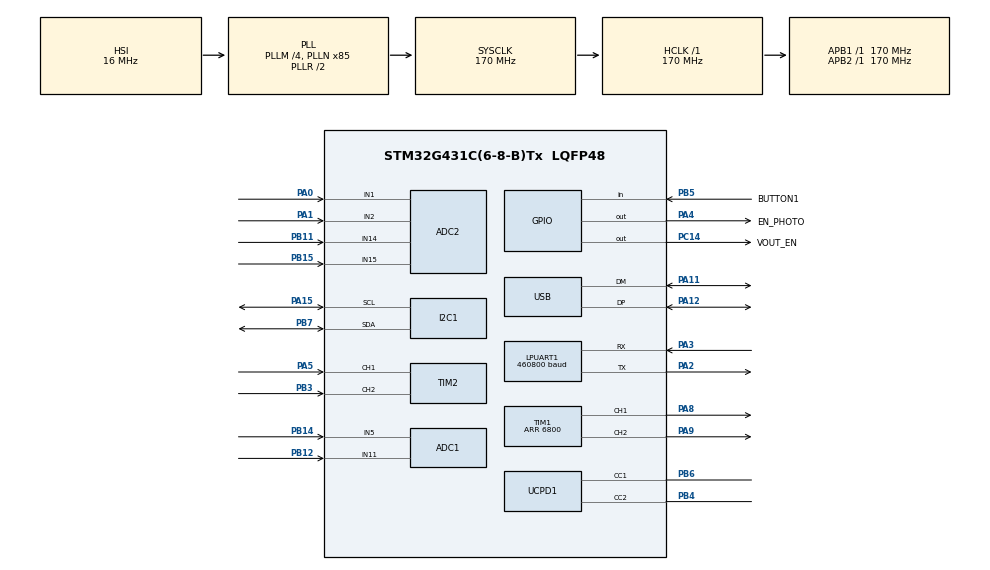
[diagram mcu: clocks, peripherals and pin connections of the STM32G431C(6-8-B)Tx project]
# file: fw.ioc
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ADC1.Channel-3\#ChannelRegularConversion=ADC_CHANNEL_11
ADC1.NbrOfConversionFlag=1
ADC1.OffsetNumber-3\#ChannelRegularConversion=ADC_OFFSET_NONE
ADC1.Rank-3\#ChannelRegularConversion=1
ADC1.SamplingTime-3\#ChannelRegularConversion=ADC_SAMPLETIME_2CYCLES_5
ADC1.master=1
ADC2.Channel-1\#ChannelRegularConversion=ADC_CHANNEL_14
ADC2.DMAContinuousRequests=ENABLE
ADC2.ExternalTrigConv=ADC_EXTERNALTRIG_T4_TRGO
ADC2.NbrOfConversion=1
ADC2.NbrOfConversionFlag=1
ADC2.OffsetNumber-1\#ChannelRegularConversion=ADC_OFFSET_NONE
ADC2.Overrun=ADC_OVR_DATA_PRESERVED
ADC2.Rank-1\#ChannelRegularConversion=1
ADC2.SamplingTime-1\#ChannelRegularConversion=ADC_SAMPLETIME_6CYCLES_5
Dma.ADC2.0.Direction=DMA_PERIPH_TO_MEMORY
Dma.ADC2.0.EventEnable=DISABLE
Dma.ADC2.0.Instance=DMA1_Channel1
Dma.ADC2.0.MemDataAlignment=DMA_MDATAALIGN_HALFWORD
Dma.ADC2.0.MemInc=DMA_MINC_ENABLE
Dma.ADC2.0.Mode=DMA_CIRCULAR
Dma.ADC2.0.PeriphDataAlignment=DMA_PDATAALIGN_HALFWORD
Dma.ADC2.0.PeriphInc=DMA_PINC_DISABLE
Dma.ADC2.0.Polarity=HAL_DMAMUX_REQ_GEN_RISING
Dma.ADC2.0.Priority=DMA_PRIORITY_LOW
Dma.ADC2.0.RequestNumber=1
Dma.ADC2.0.SignalID=NONE
Dma.ADC2.0.SyncEnable=DISABLE
Dma.ADC2.0.SyncPolarity=HAL_DMAMUX_SYNC_NO_EVENT
Dma.ADC2.0.SyncRequestNumber=1
Dma.ADC2.0.SyncSignalID=NONE
Dma.LPUART1_RX.2.Direction=DMA_PERIPH_TO_MEMORY
Dma.LPUART1_RX.2.EventEnable=DISABLE
Dma.LPUART1_RX.2.Instance=DMA1_Channel3
Dma.LPUART1_RX.2.MemDataAlignment=DMA_MDATAALIGN_BYTE
Dma.LPUART1_RX.2.MemInc=DMA_MINC_ENABLE
Dma.LPUART1_RX.2.Mode=DMA_NORMAL
Dma.LPUART1_RX.2.PeriphDataAlignment=DMA_PDATAALIGN_BYTE
Dma.LPUART1_RX.2.PeriphInc=DMA_PINC_DISABLE
Dma.LPUART1_RX.2.Polarity=HAL_DMAMUX_REQ_GEN_RISING
Dma.LPUART1_RX.2.Priority=DMA_PRIORITY_LOW
Dma.LPUART1_RX.2.RequestNumber=1
Dma.LPUART1_RX.2.SignalID=NONE
Dma.LPUART1_RX.2.SyncEnable=DISABLE
Dma.LPUART1_RX.2.SyncPolarity=HAL_DMAMUX_SYNC_NO_EVENT
Dma.LPUART1_RX.2.SyncRequestNumber=1
Dma.LPUART1_RX.2.SyncSignalID=NONE
Dma.LPUART1_TX.1.Direction=DMA_MEMORY_TO_PERIPH
Dma.LPUART1_TX.1.EventEnable=DISABLE
Dma.LPUART1_TX.1.Instance=DMA1_Channel2
Dma.LPUART1_TX.1.MemDataAlignment=DMA_MDATAALIGN_BYTE
Dma.LPUART1_TX.1.MemInc=DMA_MINC_ENABLE
Dma.LPUART1_TX.1.Mode=DMA_NORMAL
Dma.LPUART1_TX.1.PeriphDataAlignment=DMA_PDATAALIGN_BYTE
Dma.LPUART1_TX.1.PeriphInc=DMA_PINC_DISABLE
Dma.LPUART1_TX.1.Polarity=HAL_DMAMUX_REQ_GEN_RISING
Dma.LPUART1_TX.1.Priority=DMA_PRIORITY_LOW
Dma.LPUART1_TX.1.RequestNumber=1
Dma.LPUART1_TX.1.SignalID=NONE
Dma.LPUART1_TX.1.SyncEnable=DISABLE
Dma.LPUART1_TX.1.SyncPolarity=HAL_DMAMUX_SYNC_NO_EVENT
Dma.LPUART1_TX.1.SyncRequestNumber=1
Dma.LPUART1_TX.1.SyncSignalID=NONE
Dma.Request0=ADC2
Dma.Request1=LPUART1_TX
Dma.Request2=LPUART1_RX
I2C1.Timing=0x40B285C2
LPUART1.BaudRate=460800
LPUART1.Mode=UART_MODE_TX_RX
LPUART1.WordLength=UART_WORDLENGTH_8B
Mcu.Family=STM32G4
Mcu.Name=STM32G431C(6-8-B)Tx
Mcu.Package=LQFP48
NVIC.ADC1_2_IRQn=true\:0\:0\:false\:false\:true\:true\:true\:true
NVIC.DMA1_Channel1_IRQn=true\:0\:0\:false\:false\:true\:false\:true\:true
NVIC.DMA1_Channel2_IRQn=true\:0\:0\:true\:false\:true\:false\:true\:true
NVIC.DMA1_Channel3_IRQn=true\:0\:0\:false\:false\:true\:false\:true\:true
NVIC.LPUART1_IRQn=true\:0\:0\:false\:false\:true\:true\:true\:true
NVIC.PriorityGroup=NVIC_PRIORITYGROUP_4
NVIC.TIM2_IRQn=true\:0\:0\:false\:false\:true\:true\:true\:true
NVIC.TIM3_IRQn=true\:0\:0\:false\:false\:true\:true\:true\:true
PA0.Mode=IN1-Differential
PA0.Signal=ADC2_IN1
PA1.Mode=IN1-Differential
PA1.Signal=ADC2_IN2
PA11.Mode=Device
PA11.Signal=USB_DM
PA12.Mode=Device
PA12.Signal=USB_DP
PA13.Mode=Serial_Wire
PA13.Signal=SYS_JTMS-SWDIO
PA14.Mode=Serial_Wire
PA14.Signal=SYS_JTCK-SWCLK
PA15.Mode=I2C
PA15.Signal=I2C1_SCL
PA2.Mode=Asynchronous
PA2.Signal=LPUART1_TX
PA3.Mode=Asynchronous
PA3.Signal=LPUART1_RX
PA4.GPIO_Label=EN_PHOTO
PA4.Signal=GPIO_Output
PA5.Signal=S_TIM2_CH1
PA8.Signal=S_TIM1_CH1
PA9.Signal=S_TIM1_CH2
PB11.Mode=IN14-Single-Ended
PB11.Signal=ADC2_IN14
PB12.Mode=IN11-Single-Ended
PB12.Signal=ADC1_IN11
PB14.Mode=IN5-Single-Ended
PB14.Signal=ADC1_IN5
PB15.Mode=IN15-Single-Ended
PB15.Signal=ADC2_IN15
PB3.Signal=S_TIM2_CH2
PB4.Mode=Sink_AllSignals
PB4.Signal=UCPD1_CC2
PB5.GPIO_Label=BUTTON1
PB5.GPIO_PuPd=GPIO_PULLUP
PB5.Signal=GPIO_Input
PB6.Mode=Sink_AllSignals
PB6.Signal=UCPD1_CC1
PB7.Mode=I2C
PB7.Signal=I2C1_SDA
PC14-OSC32_IN.GPIO_Label=VOUT_EN
PC14-OSC32_IN.Signal=GPIO_Output
ProjectManager.HeapSize=0x200
ProjectManager.StackSize=0x400
ProjectManager.TargetToolchain=STM32CubeIDE
RCC.ADC12Freq_Value=170000000
RCC.AHBFreq_Value=170000000
RCC.APB1Freq_Value=170000000
RCC.APB1TimFreq_Value=170000000
RCC.APB2Freq_Value=170000000
RCC.APB2TimFreq_Value=170000000
RCC.CK48CLockSelection=RCC_USBCLKSOURCE_HSI48
RCC.CortexFreq_Value=170000000
RCC.EXTERNAL_CLOCK_VALUE=12288000
RCC.HCLKFreq_Value=170000000
RCC.HSE_VALUE=8000000
RCC.HSI48_VALUE=48000000
RCC.HSI_VALUE=16000000
RCC.LSE_VALUE=32768
RCC.PLLM=RCC_PLLM_DIV4
RCC.PLLN=85
RCC.PLLQ=RCC_PLLQ_DIV4
RCC.SYSCLKFreq_VALUE=170000000
RCC.SYSCLKSource=RCC_SYSCLKSOURCE_PLLCLK
RCC.USBFreq_Value=48000000
RCC.VCOOutputFreq_Value=340000000
SH.S_TIM1_CH1.0=TIM1_CH1,PWM Generation1 CH1
SH.S_TIM1_CH2.0=TIM1_CH2,PWM Generation2 CH2
SH.S_TIM2_CH1.0=TIM2_CH1,Input_Capture1_from_TI1
SH.S_TIM2_CH2.0=TIM2_CH2,Input_Capture2_from_TI2
TIM1.AutoReloadPreload=TIM_AUTORELOAD_PRELOAD_ENABLE
TIM1.Channel-PWM\ Generation1\ CH1=TIM_CHANNEL_1
TIM1.Channel-PWM\ Generation2\ CH2=TIM_CHANNEL_2
TIM1.PeriodNoDither=6800
TIM2.Channel-Input_Capture1_from_TI1=TIM_CHANNEL_1
TIM2.Channel-Input_Capture2_from_TI2=TIM_CHANNEL_2
TIM3.PeriodNoDither=5313
TIM3.Prescaler=31
TIM4.PeriodNoDither=42500
TIM4.Prescaler=3
TIM4.TIM_MasterOutputTrigger=TIM_TRGO_UPDATE
VP_SYS_VS_DBSignals.Mode=DisableDeadBatterySignals
VP_TIM1_VS_ClockSourceINT.Mode=Internal
VP_TIM2_VS_ClockSourceINT.Mode=Internal
VP_TIM3_VS_ClockSourceINT.Mode=Internal
VP_TIM4_VS_ClockSourceINT.Mode=Internal
board=custom

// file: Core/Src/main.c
/* USER CODE BEGIN Header */
/**
  ******************************************************************************
  * @file           : main.c
  * @brief          : Main program body
  ******************************************************************************
  * @attention
  *
  * Copyright (c) 2026 STMicroelectronics.
  * All rights reserved.
  *
  * This software is licensed under terms that can be found in the LICENSE file
  * in the root directory of this software component.
  * If no LICENSE file comes with this software, it is provided AS-IS.
  *
  ******************************************************************************
  */
/* USER CODE END Header */
#include "main.h"
#include "adc.h"
#include "dma.h"
#include "i2c.h"
#include "usart.h"
#include "tim.h"
#include "ucpd.h"
#include "usb.h"
#include "gpio.h"

/* USER CODE BEGIN Includes */
#include "shell.h"

//TODO FIXME
HAL_StatusTypeDef DMA_status;
volatile uint16_t err = 0;
volatile uint8_t dfu_jump_requested;

/* USER CODE END Includes */

void SystemClock_Config(void);

/* USER CODE BEGIN 0 */

/* STM Shell related */

void shell_out (char *buff, int length)
{
  HAL_UART_Transmit_DMA(&hlpuart1, (uint8_t *) buff, length);
  shell_state.busy = 1;  // DMA transfer in progress.
}

void shell_get_byte (char *c)
{
  HAL_UART_Receive_IT(&hlpuart1, (uint8_t *) c, 1);
}

/*
void HAL_UART_TxCpltCallback (UART_HandleTypeDef *huart)
{
  // Verify which USART we're dealing with:
  if (huart->Instance == LPUART1)  // UART used by the shell
    shell_state.busy = 0;  // Transfer complete : clear the flag
}
*/

void HAL_UART_RxCpltCallback (UART_HandleTypeDef *huart)
{
  // Verify which USART we're dealing with :
  if (huart->Instance == LPUART1)  // UART used by the shell
    shell_in (shell_state.c);  // Feed the byte to the shell
}

// Taken from https://community.st.com/stm32-mcus-60/how-to-jump-to-system-bootloader-from-application-code-on-stm32-microcontrollers-71
#include "stm32g4xx_hal.h"
#include "core_cm4.h"

#define SYSTEM_MEMORY_BASE 0x1FFF0000UL
typedef void (*pFunction)(void);

void JumpToSystemBootloader(void)
{
    uint32_t sp = *(volatile uint32_t *)(SYSTEM_MEMORY_BASE + 0);
    uint32_t pc = *(volatile uint32_t *)(SYSTEM_MEMORY_BASE + 4);
    pFunction bootloader = (pFunction)pc;

    __disable_irq();
    SysTick->CTRL = 0;
    SysTick->LOAD = 0;
    SysTick->VAL = 0;

    for (uint32_t i = 0; i < sizeof(NVIC->ICER) / sizeof(NVIC->ICER[0]); i++)
    {
        NVIC->ICER[i] = 0xFFFFFFFFUL;
        NVIC->ICPR[i] = 0xFFFFFFFFUL;
    }

    HAL_RCC_DeInit();

    __set_MSP(sp);
    __enable_irq();
    bootloader();

    while (1) {}
}

void cycleThrough(void)
{
	// Spin through duty cycles 90%, 80%, .... 10%
	__HAL_TIM_SET_COMPARE(&htim1, TIM_CHANNEL_1, 0);
	__HAL_TIM_SET_COMPARE(&htim1, TIM_CHANNEL_2, 0);
	HAL_TIM_PWM_Start(&htim1, TIM_CHANNEL_1);
	HAL_TIM_PWM_Start(&htim1, TIM_CHANNEL_2);
	for(int i = 10; i >= 1; i--)
	{
		int duty = i*680;
		__HAL_TIM_SET_COMPARE(&htim1, TIM_CHANNEL_1, duty);
		HAL_TIM_PWM_Start(&htim1, TIM_CHANNEL_1);
		HAL_Delay(5000);
		HAL_TIM_PWM_Stop(&htim1, TIM_CHANNEL_1);
		HAL_Delay(3000);
	}
}

// Just spin the motor in forward direction with 100% duty cycle
void quickCheck(void)
{
	__HAL_TIM_SET_COMPARE(&htim1, TIM_CHANNEL_1, 6800); // always high for 100% duty cycle
	__HAL_TIM_SET_COMPARE(&htim1, TIM_CHANNEL_2, 0); // keeping that zero uses coast mode

	HAL_TIM_PWM_Start(&htim1, TIM_CHANNEL_2);
	HAL_TIM_PWM_Start(&htim1, TIM_CHANNEL_1);
}

// Prepare TIM2 for counting pulses.
// We count the number of pulses inside a fixed time window of 1ms
// at no load : HALL Sensor delivers pulses with 2.8kHz -> 2.8kHz/16 = 175 RPS = 175*60 = 10500 RPM
// in 1ms, we would count 2.8 pulses
// we need to count at least 2 pulses to estimate frequency.
// With 16 RPC
// -> if we want to measure down to 1 RPS we need to wait for at least 2*1/*16 = 125ms
// -> for measuring 10RPS, we need to measure for 12,5ms
// if we wait for 10ms, we can measure down to ~ 2/16 turns/10ms = 1/8*100 = 12.5 RPS
//TODO: currently we do not make use of the parameter rpm
void measStepRsp(uint16_t rpm)
{
	HAL_TIM_Base_Start_IT(&htim3); // this will fire period elapsed callback on TIM3 overrun
	HAL_TIM_IC_Start_IT(&htim2, TIM_CHANNEL_1); // this will enable TIM2 that is counting pulses with input capture

	__HAL_TIM_SET_COMPARE(&htim1, TIM_CHANNEL_1, 6800); // always high for 100% duty cycle
	__HAL_TIM_SET_COMPARE(&htim1, TIM_CHANNEL_2, 0); // keeping that zero uses coast mode during off time of PWM

	HAL_TIM_PWM_Start(&htim1, TIM_CHANNEL_2);
	HAL_TIM_PWM_Start(&htim1, TIM_CHANNEL_1);
}

void startAdcSampling(void)
{
	HAL_ADCEx_Calibration_Start(&hadc2, ADC_SINGLE_ENDED);
	HAL_ADC_Start_DMA(&hadc2, (uint32_t *)adc_buffer, ADC_BUFFER_SIZE);
	HAL_TIM_Base_Start(&htim4); // TIM4 Update event triggers ADC
}

/* USER CODE END 0 */

int main(void)
{

  /* MCU Configuration--------------------------------------------------------*/

  /* Reset of all peripherals, Initializes the Flash interface and the Systick. */
  HAL_Init();

  /* Configure the system clock */
  SystemClock_Config();

  /* Initialize all configured peripherals */
  MX_GPIO_Init();
  MX_DMA_Init();
  MX_ADC1_Init();
  MX_ADC2_Init();
  MX_LPUART1_UART_Init();
  MX_UCPD1_Init();
  MX_TIM2_Init();
  MX_TIM1_Init();
  MX_I2C1_Init();
  MX_TIM3_Init();
  MX_TIM4_Init();
  MX_USB_PCD_Init();
  /* USER CODE BEGIN 2 */

  __HAL_DBGMCU_FREEZE_TIM4();

  /* USER CODE END 2 */

  /* Infinite loop */
  /* USER CODE BEGIN WHILE */

/*  while (!USB_DeviceIsConfigured())
  {
      // USB enumeration is still in progress
  }*/

  //setMotorRPM(0);
 // HAL_Delay(2000); //just to spin up
 // setMotorRPM(3000);

  //startAdcSampling();

  //quickCheck();
  //cycleThrough();
  //HAL_Delay(3000);

  HAL_Delay(5000);
  measStepRsp(6800);

  while (1)
  {
	  /* !! DO NOT MODIFY THIS !! */
	  if(dfu_jump_requested)
	  {
		  JumpToSystemBootloader();
	  }

	  // Keep shell interaction going
	  shell_fp();

	  //stop measurement and send data to PC when step response has finished
	  if(f_measurement_finished)
	  {
		HAL_TIM_Base_Stop_IT(&htim3);
		HAL_TIM_IC_Stop(&htim2, TIM_CHANNEL_1);

		HAL_TIM_PWM_Stop(&htim1, TIM_CHANNEL_1);
		HAL_TIM_PWM_Stop(&htim1, TIM_CHANNEL_2);

		//send values to PC
		HAL_UART_Transmit(&hlpuart1, (uint8_t*)motor_rpm, sizeof(motor_rpm), HAL_MAX_DELAY);
		f_measurement_finished = 0;
		//memset(motor_rpm, 0, sizeof(motor_rpm));
	  }

	  /*
	  if(convHalfComplete)
	  {
		// ADC has finished writing Part A of buffer
		// Since uart is configured for 8 bit/ no party, the size parameter is also interpreted in bytes
		DMA_status = HAL_UART_Transmit_DMA(&hlpuart1, (uint8_t *) &adc_buffer[0], ADC_BUFFER_SIZE/2*sizeof(uint16_t));
		//status = CDC_Transmit_FS( (uint8_t *)&adc_buffer[0], ADC_BUFFER_SIZE / 2 * sizeof(uint16_t) );
//		if (status != USBD_OK)
//		{
//			err=2;
//		}
		convHalfComplete = 0;
	  }

	  if(convComplete)
	  {

		//status = CDC_Transmit_FS( (uint8_t *)&adc_buffer[ADC_BUFFER_SIZE / 2], ADC_BUFFER_SIZE / 2 * sizeof(uint16_t) );
		DMA_status = HAL_UART_Transmit_DMA(&hlpuart1, (uint8_t *) &adc_buffer[ADC_BUFFER_SIZE/2], ADC_BUFFER_SIZE/2*sizeof(uint16_t));
//		if (status != USBD_OK)
//		{
//			err=2;
//		}
		convComplete = 0;
	  }
	  */

    /* USER CODE END WHILE */

  }
}

void SystemClock_Config(void)
{
  RCC_OscInitTypeDef RCC_OscInitStruct = {0};
  RCC_ClkInitTypeDef RCC_ClkInitStruct = {0};

  /** Configure the main internal regulator output voltage
  */
  HAL_PWREx_ControlVoltageScaling(PWR_REGULATOR_VOLTAGE_SCALE1_BOOST);

  /** Initializes the RCC Oscillators according to the specified parameters
  * in the RCC_OscInitTypeDef structure.
  */
  RCC_OscInitStruct.OscillatorType = RCC_OSCILLATORTYPE_HSI|RCC_OSCILLATORTYPE_HSI48;
  RCC_OscInitStruct.HSIState = RCC_HSI_ON;
  RCC_OscInitStruct.HSICalibrationValue = RCC_HSICALIBRATION_DEFAULT;
  RCC_OscInitStruct.HSI48State = RCC_HSI48_ON;
  RCC_OscInitStruct.PLL.PLLState = RCC_PLL_ON;
  RCC_OscInitStruct.PLL.PLLSource = RCC_PLLSOURCE_HSI;
  RCC_OscInitStruct.PLL.PLLM = RCC_PLLM_DIV4;
  RCC_OscInitStruct.PLL.PLLN = 85;
  RCC_OscInitStruct.PLL.PLLP = RCC_PLLP_DIV2;
  RCC_OscInitStruct.PLL.PLLQ = RCC_PLLQ_DIV4;
  RCC_OscInitStruct.PLL.PLLR = RCC_PLLR_DIV2;
  if (HAL_RCC_OscConfig(&RCC_OscInitStruct) != HAL_OK)
  {
    Error_Handler();
  }

  /** Initializes the CPU, AHB and APB buses clocks
  */
  RCC_ClkInitStruct.ClockType = RCC_CLOCKTYPE_HCLK|RCC_CLOCKTYPE_SYSCLK
                              |RCC_CLOCKTYPE_PCLK1|RCC_CLOCKTYPE_PCLK2;
  RCC_ClkInitStruct.SYSCLKSource = RCC_SYSCLKSOURCE_PLLCLK;
  RCC_ClkInitStruct.AHBCLKDivider = RCC_SYSCLK_DIV1;
  RCC_ClkInitStruct.APB1CLKDivider = RCC_HCLK_DIV1;
  RCC_ClkInitStruct.APB2CLKDivider = RCC_HCLK_DIV1;

  if (HAL_RCC_ClockConfig(&RCC_ClkInitStruct, FLASH_LATENCY_4) != HAL_OK)
  {
    Error_Handler();
  }
}

void Error_Handler(void)
{
  __disable_irq();
  while (1)
  {
  }
}
